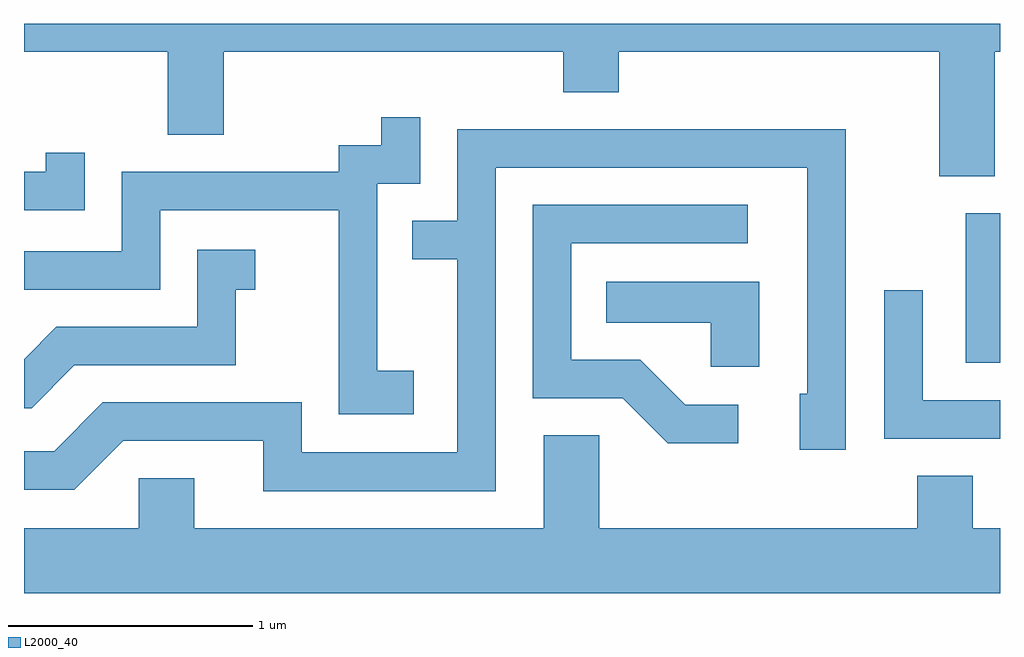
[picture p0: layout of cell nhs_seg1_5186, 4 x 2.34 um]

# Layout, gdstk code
import gdstk
lib = gdstk.Library(unit=1e-6, precision=1e-09)
def R(c, l, rs):  # rectangles x0, y0, x1, y1
    for r in rs: c.add(gdstk.rectangle(r[:2], r[2:], *l))
def P(c, l, *ps):  # polygons
    for p in ps: c.add(gdstk.Polygon(p, *l))
L2000_40 = (2000, 40)

nhs_seg1_5186 = lib.new_cell('nhs_seg1_5186')
R(nhs_seg1_5186, L2000_40, [(345.471,878.321,345.611,878.934)])
P(nhs_seg1_5186, L2000_40, [(345.589,879.596),(345.611,879.596),(345.611,879.712),(341.611,879.712),(341.611,879.596),(342.201,879.596),(342.201,879.256),(342.429,879.256),(342.429,879.596),(343.821,879.596),(343.821,879.431),(344.049,879.431),(344.049,879.596),(345.361,879.596),(345.361,879.086),(345.589,879.086)],
  [(343.209,878.289),(343.059,878.289),(343.059,879.056),(343.234,879.056),(343.234,879.328),(343.076,879.328),(343.076,879.214),(342.901,879.214),(342.901,879.104),(342.011,879.104),(342.011,878.779),(341.611,878.779),(341.611,878.621),(342.169,878.621),(342.169,878.946),(342.901,878.946),(342.901,878.111),(343.209,878.111)],
  [(343.544,879.121),(344.821,879.121),(344.821,878.194),(344.791,878.194),(344.791,877.966),(344.979,877.966),(344.979,879.279),(343.386,879.279),(343.386,878.904),(343.203,878.904),(343.203,878.746),(343.386,878.746),(343.386,877.954),(342.749,877.954),(342.749,878.159),(341.934,878.159),(341.734,877.959),(341.611,877.959),(341.611,877.801),(341.817,877.801),(342.017,878.001),(342.591,878.001),(342.591,877.796),(343.544,877.796)],
  [(341.859,879.183),(341.701,879.183),(341.701,879.104),(341.611,879.104),(341.611,878.946),(341.859,878.946)],
  [(344.538,878.149),(344.322,878.149),(344.137,878.334),(343.854,878.334),(343.854,878.811),(344.578,878.811),(344.578,878.969),(343.696,878.969),(343.696,878.176),(344.064,878.176),(344.249,877.991),(344.538,877.991)],
  [(341.817,878.311),(342.479,878.311),(342.479,878.621),(342.558,878.621),(342.558,878.784),(342.321,878.784),(342.321,878.469),(341.744,878.469),(341.611,878.336),(341.611,878.136),(341.642,878.136)],
  [(344.624,878.654),(343.998,878.654),(343.998,878.486),(344.426,878.486),(344.426,878.306),(344.624,878.306)],
  [(345.611,878.169),(345.294,878.169),(345.294,878.618),(345.136,878.618),(345.136,878.011),(345.611,878.011)],
  [(345.611,877.644),(345.499,877.644),(345.499,877.859),(345.271,877.859),(345.271,877.644),(343.969,877.644),(343.969,878.024),(343.741,878.024),(343.741,877.644),(342.309,877.644),(342.309,877.849),(342.081,877.849),(342.081,877.644),(341.611,877.644),(341.611,877.376),(345.611,877.376)])

lib.write_gds('nhs_seg1_5186.gds')
